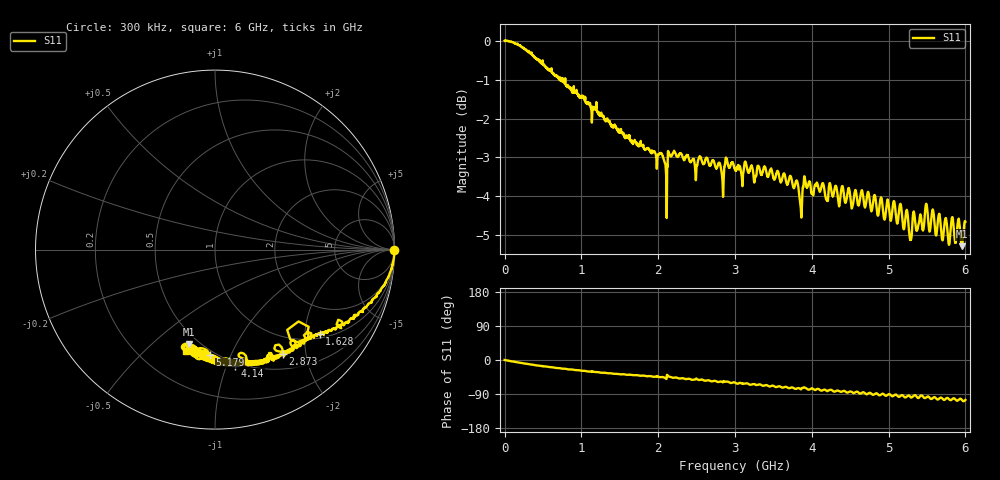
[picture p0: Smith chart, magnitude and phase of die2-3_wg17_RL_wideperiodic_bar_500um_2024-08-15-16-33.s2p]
!Keysight Technologies,P9374A,MY57304198,A.17.20.09
!Date: Thursday, August 15, 2024 16:33:31
!Correction: S11(C  1-Port  )
!S21(C  1-Port  )
!S12(Off)
!S22(Off)
!S2P File: Measurements: S11, S21, S12, S22:
# Hz S  dB  R 50
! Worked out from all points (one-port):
!   6000 points, 300 kHz to 6 GHz, reference 50 ohm
!   lowest |S11| = -5.3 dB at 5.954 GHz (marker M1), VSWR 3.39, Z = 22.2 - j33.1 ohm
!   |S11| at or under -10 dB: nowhere
!   S11 on the Smith chart (normalised r, x): 300 kHz: open; 1.628 GHz: 1.11, -2.38; 2.873 GHz: 0.71, -1.61; 4.14 GHz: 0.47, -1.07; 5.179 GHz: 0.46, -0.84; 6 GHz: 0.40, -0.68
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300000  -0.00 -0.0  -200.00 45.0  -200.00 45.0  -200.00 45.0
4.153484e8  -0.45 -14.2  -200.00 45.0  -200.00 45.0  -200.00 45.0
1.000417e9  -1.41 -28.3  -200.00 45.0  -200.00 45.0  -200.00 45.0
1.62849e9  -2.51 -38.8  -200.00 45.0  -200.00 45.0  -200.00 45.0
2.000533e9  -2.92 -43.9  -200.00 45.0  -200.00 45.0  -200.00 45.0
2.083543e9  -3.11 -46.6  -200.00 45.0  -200.00 45.0  -200.00 45.0
2.14455e9  -2.91 -43.6  -200.00 45.0  -200.00 45.0  -200.00 45.0
2.280566e9  -2.91 -48.8  -200.00 45.0  -200.00 45.0  -200.00 45.0
2.872635e9  -3.16 -57.0  -200.00 45.0  -200.00 45.0  -200.00 45.0
3.00065e9  -3.32 -59.7  -200.00 45.0  -200.00 45.0  -200.00 45.0
3.786742e9  -3.67 -76.2  -200.00 45.0  -200.00 45.0  -200.00 45.0
3.851749e9  -4.19 -76.8  -200.00 45.0  -200.00 45.0  -200.00 45.0
3.900755e9  -3.51 -72.0  -200.00 45.0  -200.00 45.0  -200.00 45.0
4.000767e9  -3.91 -74.6  -200.00 45.0  -200.00 45.0  -200.00 45.0
4.139783e9  -3.66 -80.1  -200.00 45.0  -200.00 45.0  -200.00 45.0
5.000883e9  -4.22 -90.2  -200.00 45.0  -200.00 45.0  -200.00 45.0
5.178904e9  -4.58 -92.8  -200.00 45.0  -200.00 45.0  -200.00 45.0
5.283916e9  -5.12 -97.5  -200.00 45.0  -200.00 45.0  -200.00 45.0
5.428933e9  -4.63 -93.5  -200.00 45.0  -200.00 45.0  -200.00 45.0
5.493941e9  -4.20 -98.0  -200.00 45.0  -200.00 45.0  -200.00 45.0
5.953995e9  -5.28 -105.4  -200.00 45.0  -200.00 45.0  -200.00 45.0
6e9  -4.65 -105.4  -200.00 45.0  -200.00 45.0  -200.00 45.0
